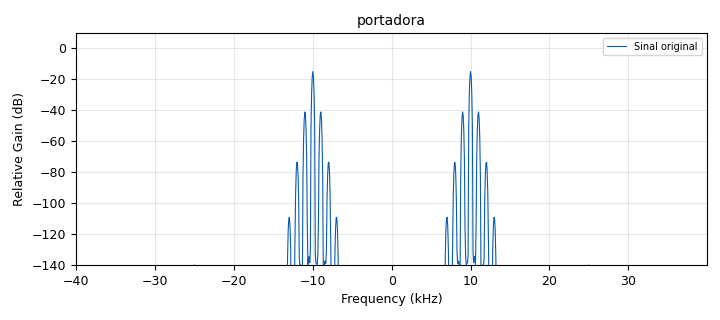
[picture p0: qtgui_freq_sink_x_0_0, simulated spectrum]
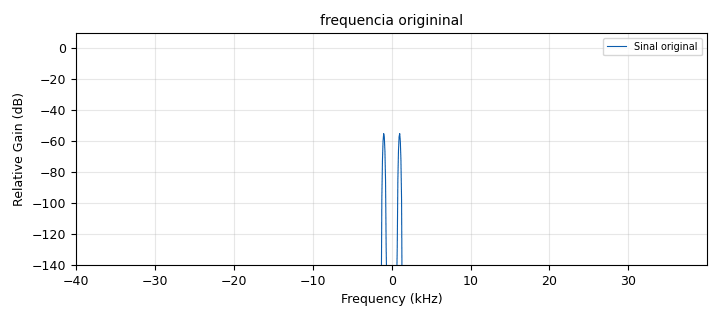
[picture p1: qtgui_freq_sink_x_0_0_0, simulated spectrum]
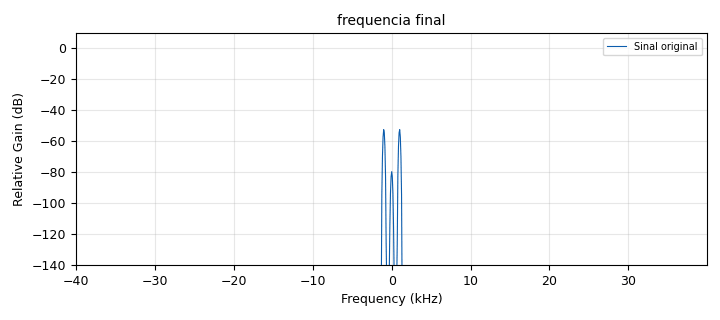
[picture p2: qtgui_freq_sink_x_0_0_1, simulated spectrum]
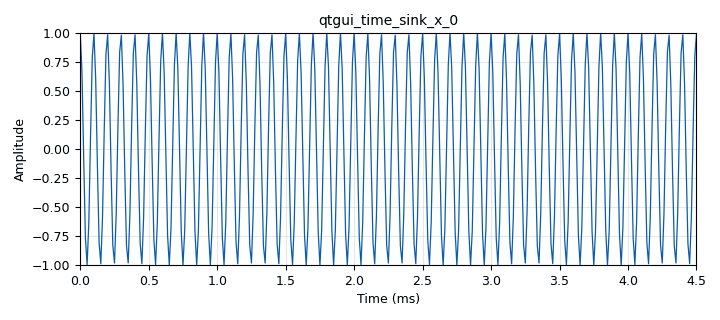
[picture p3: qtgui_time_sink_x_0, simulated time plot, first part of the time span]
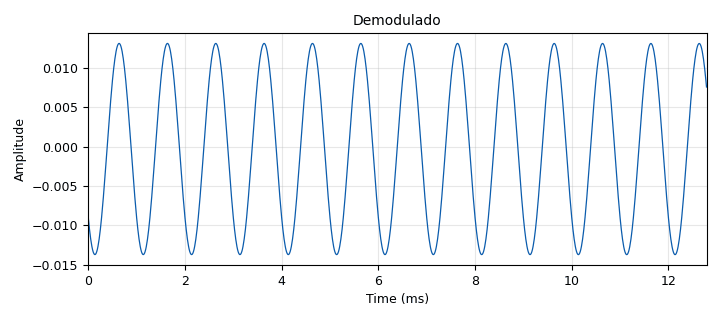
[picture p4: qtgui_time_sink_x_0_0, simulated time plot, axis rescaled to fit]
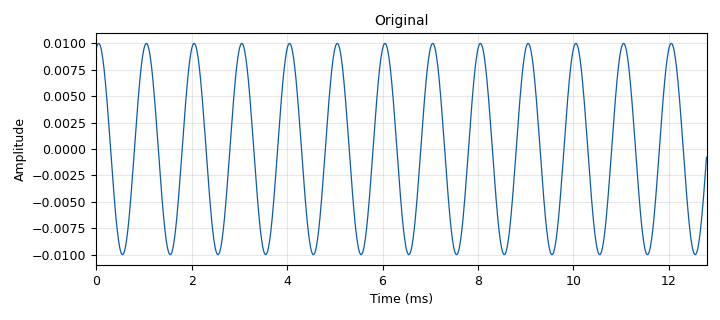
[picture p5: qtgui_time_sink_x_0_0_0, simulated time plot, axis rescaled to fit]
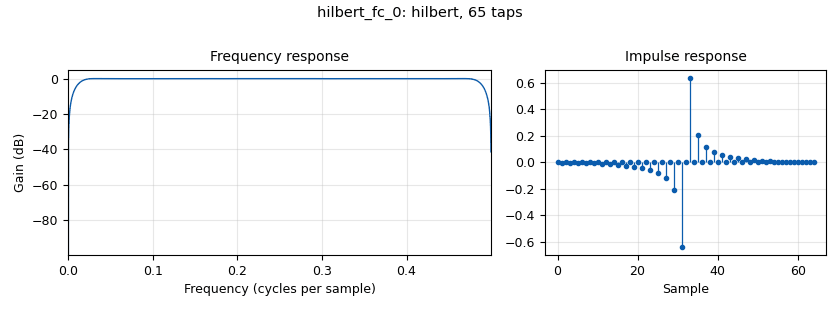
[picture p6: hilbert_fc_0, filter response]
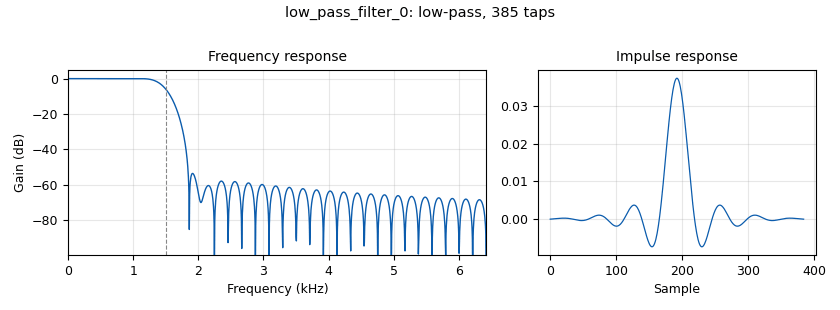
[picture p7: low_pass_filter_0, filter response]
options:
  parameters:
    author: Luiz Felipe
    generate_options: qt_gui
    id: MOD_FM
    output_language: python
    title: Not titled yet
  states: {}

blocks:
- name: amp
  id: variable_qtgui_range
  parameters:
    start: '0'
    step: fm/(fc*50)
    stop: fm/fc
    value: '0.01'
  states: {}
- name: fc
  id: variable
  parameters:
    value: 10e3
  states: {}
- name: fm
  id: variable
  parameters:
    value: 1e3
  states: {}
- name: kf
  id: variable
  parameters:
    value: 1e3
  states: {}
- name: samp_rate
  id: variable
  parameters:
    value: 80e3
  states: {}
- name: analog_quadrature_demod_cf_0
  id: analog_quadrature_demod_cf
  parameters:
    gain: samp_rate/(2*math.pi*fc)
  states: {}
- name: analog_sig_source_x_0
  id: analog_sig_source_x
  parameters:
    amp: amp
    freq: fm
    offset: '0'
    phase: '0'
    samp_rate: samp_rate
    type: float
    waveform: analog.GR_SIN_WAVE
  states: {}
- name: blocks_add_const_vxx_0
  id: blocks_add_const_vxx
  parameters:
    const: '1'
    type: float
  states: {}
- name: blocks_multiply_const_vxx_0
  id: blocks_multiply_const_vxx
  parameters:
    const: '2'
    type: float
  states: {}
- name: blocks_throttle2_0
  id: blocks_throttle2
  parameters:
    samples_per_second: samp_rate
    type: float
  states: {}
- name: blocks_vco_f_0
  id: blocks_vco_f
  parameters:
    amplitude: '1'
    samp_rate: samp_rate
    sensitivity: 2*np.pi*fc
  states: {}
- name: dc_blocker_xx_0
  id: dc_blocker_xx
  parameters:
    length: '32'
    long_form: 'True'
    type: ff
  states: {}
- name: hilbert_fc_0
  id: hilbert_fc
  parameters:
    num_taps: '65'
  states: {}
- name: import_1
  id: import
  parameters:
    imports: import numpy as np
  states: {}
- name: low_pass_filter_0
  id: low_pass_filter
  parameters:
    cutoff_freq: '1500'
    decim: '1'
    gain: '1'
    samp_rate: samp_rate
    type: fir_filter_fff
    width: '500'
    win: window.WIN_HAMMING
  states: {}
- name: qtgui_freq_sink_x_0_0
  id: qtgui_freq_sink_x
  parameters:
    bw: samp_rate
    fc: '0'
    fftsize: '1024'
    label1: Sinal original
    name: '"portadora"'
    type: float
  states: {}
- name: qtgui_freq_sink_x_0_0_0
  id: qtgui_freq_sink_x
  parameters:
    bw: samp_rate
    fc: '0'
    fftsize: '1024'
    label1: Sinal original
    name: '"frequencia origininal"'
    type: float
  states: {}
- name: qtgui_freq_sink_x_0_0_1
  id: qtgui_freq_sink_x
  parameters:
    bw: samp_rate
    fc: '0'
    fftsize: '1024'
    label1: Sinal original
    name: '"frequencia final"'
    type: float
  states: {}
- name: qtgui_time_sink_x_0
  id: qtgui_time_sink_x
  parameters:
    size: '1024'
    srate: samp_rate
    type: float
  states: {}
- name: qtgui_time_sink_x_0_0
  id: qtgui_time_sink_x
  parameters:
    name: '"Demodulado"'
    size: '1024'
    srate: samp_rate
    type: float
  states: {}
- name: qtgui_time_sink_x_0_0_0
  id: qtgui_time_sink_x
  parameters:
    name: '"Original"'
    size: '1024'
    srate: samp_rate
    type: float
  states: {}
- name: virtual_sink_0
  id: virtual_sink
  parameters:
    stream_id: u_t
  states: {}
- name: virtual_sink_1
  id: virtual_sink
  parameters:
    stream_id: sinal_fm
  states: {}
- name: virtual_source_0
  id: virtual_source
  parameters:
    stream_id: sinal_fm
  states: {}

connections:
- [analog_quadrature_demod_cf_0, '0', blocks_multiply_const_vxx_0, '0']
- [analog_sig_source_x_0, '0', blocks_add_const_vxx_0, '0']
- [analog_sig_source_x_0, '0', qtgui_freq_sink_x_0_0_0, '0']
- [analog_sig_source_x_0, '0', qtgui_time_sink_x_0_0_0, '0']
- [blocks_add_const_vxx_0, '0', blocks_vco_f_0, '0']
- [blocks_multiply_const_vxx_0, '0', dc_blocker_xx_0, '0']
- [blocks_throttle2_0, '0', qtgui_freq_sink_x_0_0, '0']
- [blocks_throttle2_0, '0', qtgui_time_sink_x_0, '0']
- [blocks_throttle2_0, '0', virtual_sink_0, '0']
- [blocks_throttle2_0, '0', virtual_sink_1, '0']
- [blocks_vco_f_0, '0', blocks_throttle2_0, '0']
- [dc_blocker_xx_0, '0', low_pass_filter_0, '0']
- [hilbert_fc_0, '0', analog_quadrature_demod_cf_0, '0']
- [low_pass_filter_0, '0', qtgui_freq_sink_x_0_0_1, '0']
- [low_pass_filter_0, '0', qtgui_time_sink_x_0_0, '0']
- [virtual_source_0, '0', hilbert_fc_0, '0']

metadata:
  file_format: 1
  grc_version: 3.10.9.2
